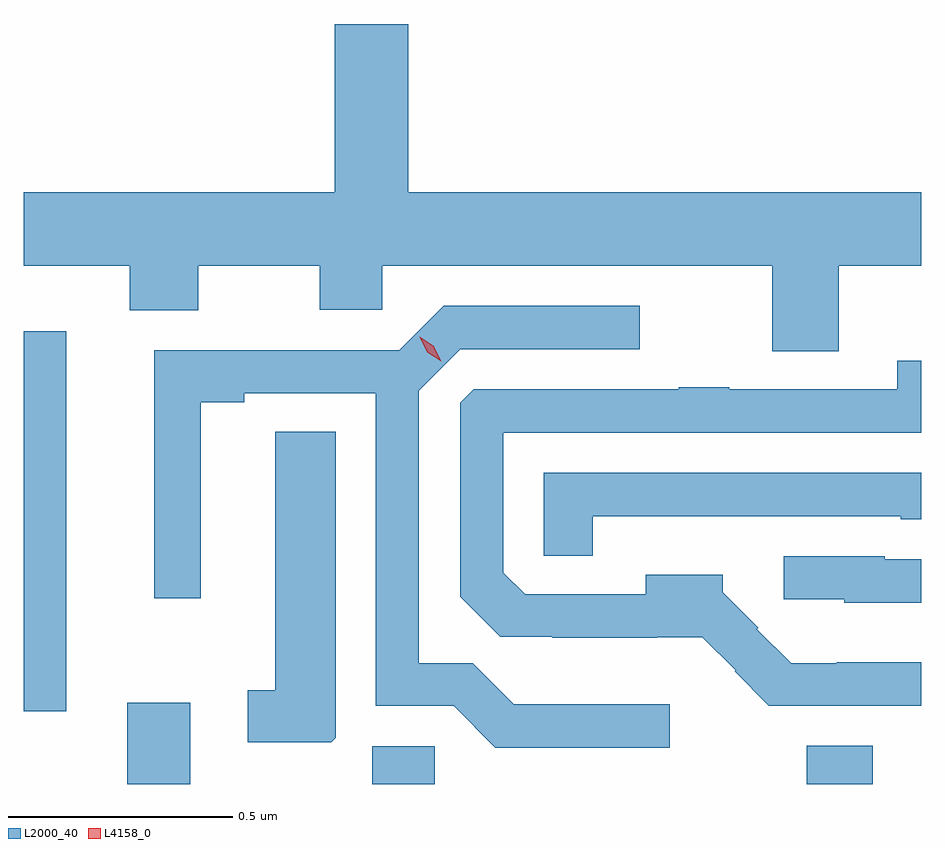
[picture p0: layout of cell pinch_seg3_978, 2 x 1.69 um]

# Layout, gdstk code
import gdstk
lib = gdstk.Library(unit=1e-6, precision=1e-09)
def R(c, l, rs):  # rectangles x0, y0, x1, y1
    for r in rs: c.add(gdstk.rectangle(r[:2], r[2:], *l))
def P(c, l, *ps):  # polygons
    for p in ps: c.add(gdstk.Polygon(p, *l))
L2000_40 = (2000, 40)
L4158_0 = (4158, 0)

pinch_seg3_978 = lib.new_cell('pinch_seg3_978')
R(pinch_seg3_978, L2000_40, [(476.234,729.066,476.374,729.247), (476.78,729.066,476.919,729.15), (477.748,729.066,477.895,729.151), (476.003,729.228,476.098,730.075)])
P(pinch_seg3_978, L2000_40, [(477.819,730.22),(478.003,730.22),(478.003,730.384),(476.86,730.384),(476.86,730.759),(476.696,730.759),(476.696,730.384),(476.003,730.384),(476.003,730.22),(476.24,730.22),(476.24,730.121),(476.392,730.121),(476.392,730.22),(476.663,730.22),(476.663,730.122),(476.802,730.122),(476.802,730.22),(477.671,730.22),(477.671,730.03),(477.819,730.03)],
  [(477.442,729.244),(477.095,729.244),(477.004,729.335),(476.883,729.335),(476.883,729.942),(476.976,730.035),(477.376,730.035),(477.376,730.131),(476.939,730.131),(476.84,730.032),(476.294,730.032),(476.294,729.48),(476.398,729.48),(476.398,729.916),(476.494,729.916),(476.494,729.936),(476.787,729.936),(476.787,729.24),(476.961,729.24),(477.054,729.147),(477.442,729.147)],
  [(478.003,729.337),(477.814,729.337),(477.814,729.335),(477.713,729.335),(477.636,729.411),(477.639,729.414),(477.56,729.493),(477.56,729.532),(477.389,729.532),(477.389,729.489),(477.12,729.489),(477.072,729.537),(477.072,729.849),(478.003,729.849),(478.003,730.009),(477.949,730.009),(477.949,729.945),(477.575,729.945),(477.575,729.95),(477.463,729.95),(477.463,729.945),(477.006,729.945),(476.976,729.915),(476.976,729.483),(477.065,729.394),(477.181,729.394),(477.181,729.392),(477.413,729.392),(477.413,729.393),(477.515,729.393),(477.589,729.319),(477.587,729.317),(477.663,729.24),(478.003,729.24)],
  [(476.698,729.169),(476.698,729.851),(476.564,729.851),(476.564,729.275),(476.502,729.275),(476.502,729.159),(476.688,729.159)],
  [(477.271,729.662),(477.525,729.662),(477.525,729.663),(477.957,729.663),(477.957,729.656),(478.003,729.656),(478.003,729.759),(477.162,729.759),(477.162,729.574),(477.271,729.574)],
  [(478.003,729.567),(477.921,729.567),(477.921,729.573),(477.696,729.573),(477.696,729.477),(477.831,729.477),(477.831,729.47),(478.003,729.47)])
P(pinch_seg3_978, L4158_0, [(476.933,730.008),(476.902,730.028),(476.885,730.062),(476.885,730.062),(476.885,730.062),(476.916,730.042),(476.933,730.008),(476.933,730.008)])

lib.write_gds('pinch_seg3_978.gds')
